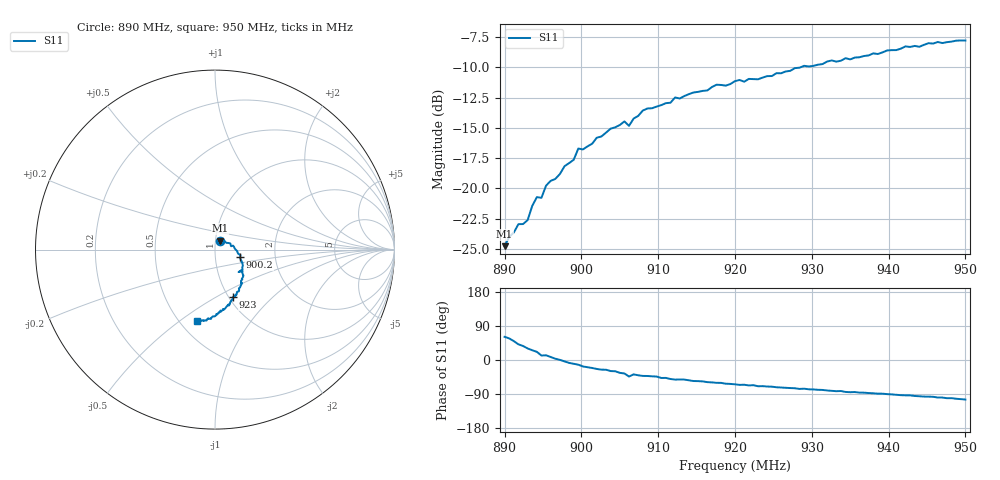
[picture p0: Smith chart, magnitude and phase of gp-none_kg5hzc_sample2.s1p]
# HZ S RI R 50
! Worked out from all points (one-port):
!   101 points, 890 MHz to 950 MHz, reference 50 ohm
!   lowest |S11| = -24.8 dB at 890 MHz (marker M1), VSWR 1.12, Z = 52.6 + j5.34 ohm
!   |S11| at or under -10 dB: start of sweep to 928.5 MHz
!   S11 on the Smith chart (normalised r, x): 890 MHz: 1.05, +0.11; 900.2 MHz: 1.32, -0.11; 923 MHz: 1.05, -0.60; 950 MHz: 0.61, -0.58
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8.9e8  0.0278 0.0506
8.918e8  0.0535 0.047
8.93e8  0.0638 0.0375
8.936e8  0.0763 0.0368
8.942e8  0.0857 0.0337
8.948e8  0.0895 0.0187
8.954e8  0.1003 0.0221
8.966e8  0.1092 0.00658
8.978e8  0.1232 -0.00791
8.99e8  0.1294 -0.0228
8.996e8  0.1427 -0.0314
9.002e8  0.1385 -0.0425
9.02e8  0.1483 -0.0649
9.05e8  0.1517 -0.1018
9.056e8  0.1538 -0.1099
9.062e8  0.1312 -0.1251
9.068e8  0.1533 -0.1194
9.08e8  0.1558 -0.1403
9.116e8  0.1448 -0.1733
9.122e8  0.1471 -0.1864
9.128e8  0.1465 -0.1838
9.176e8  0.1331 -0.2326
9.2e8  0.1208 -0.2497
9.23e8  0.1 -0.2639
9.278e8  0.0837 -0.3025
9.35e8  0.0299 -0.3397
9.428e8  -0.0222 -0.3832
9.5e8  -0.1012 -0.3952
